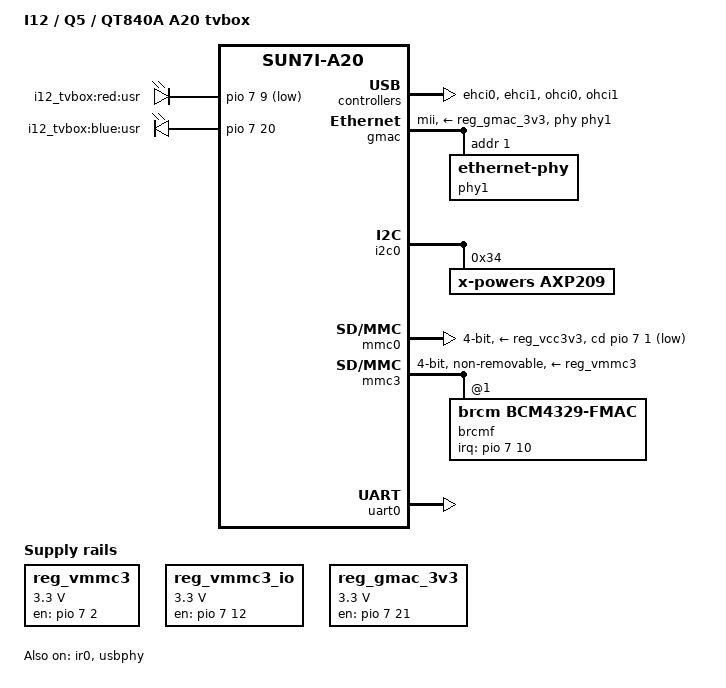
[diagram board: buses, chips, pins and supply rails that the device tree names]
/*
 * Copyright 2014 Hans de Goede <hdegoede@redhat.com>
 *
 * This file is dual-licensed: you can use it either under the terms
 * of the GPL or the X11 license, at your option. Note that this dual
 * licensing only applies to this file, and not this project as a
 * whole.
 *
 *  a) This file is free software; you can redistribute it and/or
 *     modify it under the terms of the GNU General Public License as
 *     published by the Free Software Foundation; either version 2 of the
 *     License, or (at your option) any later version.
 *
 *     This file is distributed in the hope that it will be useful,
 *     but WITHOUT ANY WARRANTY; without even the implied warranty of
 *     MERCHANTABILITY or FITNESS FOR A PARTICULAR PURPOSE.  See the
 *     GNU General Public License for more details.
 *
 * Or, alternatively,
 *
 *  b) Permission is hereby granted, free of charge, to any person
 *     obtaining a copy of this software and associated documentation
 *     files (the "Software"), to deal in the Software without
 *     restriction, including without limitation the rights to use,
 *     copy, modify, merge, publish, distribute, sublicense, and/or
 *     sell copies of the Software, and to permit persons to whom the
 *     Software is furnished to do so, subject to the following
 *     conditions:
 *
 *     The above copyright notice and this permission notice shall be
 *     included in all copies or substantial portions of the Software.
 *
 *     THE SOFTWARE IS PROVIDED "AS IS", WITHOUT WARRANTY OF ANY KIND,
 *     EXPRESS OR IMPLIED, INCLUDING BUT NOT LIMITED TO THE WARRANTIES
 *     OF MERCHANTABILITY, FITNESS FOR A PARTICULAR PURPOSE AND
 *     NONINFRINGEMENT. IN NO EVENT SHALL THE AUTHORS OR COPYRIGHT
 *     HOLDERS BE LIABLE FOR ANY CLAIM, DAMAGES OR OTHER LIABILITY,
 *     WHETHER IN AN ACTION OF CONTRACT, TORT OR OTHERWISE, ARISING
 *     FROM, OUT OF OR IN CONNECTION WITH THE SOFTWARE OR THE USE OR
 *     OTHER DEALINGS IN THE SOFTWARE.
 */

/dts-v1/;
#include "sun7i-a20.dtsi"
#include "sunxi-common-regulators.dtsi"

#include <dt-bindings/gpio/gpio.h>
#include <dt-bindings/interrupt-controller/irq.h>

/ {
	model = "I12 / Q5 / QT840A A20 tvbox";
	compatible = "allwinner,i12-tvbox", "allwinner,sun7i-a20";

	aliases {
		serial0 = &uart0;
	};

	chosen {
		stdout-path = "serial0:115200n8";
	};

	leds {
		compatible = "gpio-leds";
		pinctrl-names = "default";
		pinctrl-0 = <&led_pins_i12_tvbox>;

		red {
			label = "i12_tvbox:red:usr";
			gpios = <&pio 7 9 GPIO_ACTIVE_LOW>;
		};

		blue {
			label = "i12_tvbox:blue:usr";
			gpios = <&pio 7 20 GPIO_ACTIVE_HIGH>;
		};
	};

	reg_vmmc3: vmmc3 {
		compatible = "regulator-fixed";
		pinctrl-names = "default";
		pinctrl-0 = <&vmmc3_pin_i12_tvbox>;
		regulator-name = "vmmc3";
		regulator-min-microvolt = <3300000>;
		regulator-max-microvolt = <3300000>;
		enable-active-high;
		gpio = <&pio 7 2 GPIO_ACTIVE_HIGH>;
	};

	reg_vmmc3_io: vmmc3-io {
		compatible = "regulator-fixed";
		pinctrl-names = "default";
		pinctrl-0 = <&vmmc3_io_pin_i12_tvbox>;
		regulator-name = "vmmc3-io";
		regulator-min-microvolt = <3300000>;
		regulator-max-microvolt = <3300000>;
		/* This controls VCC-PI, must be always on! */
		regulator-always-on;
		enable-active-high;
		gpio = <&pio 7 12 GPIO_ACTIVE_HIGH>;
	};

	reg_gmac_3v3: gmac-3v3 {
		compatible = "regulator-fixed";
		pinctrl-names = "default";
		pinctrl-0 = <&gmac_power_pin_i12_tvbox>;
		regulator-name = "gmac-3v3";
		regulator-min-microvolt = <3300000>;
		regulator-max-microvolt = <3300000>;
		startup-delay-us = <50000>;
		enable-active-high;
		gpio = <&pio 7 21 GPIO_ACTIVE_HIGH>;
	};
};

&ehci0 {
	status = "okay";
};

&ehci1 {
	status = "okay";
};

&gmac {
	pinctrl-names = "default";
	pinctrl-0 = <&gmac_pins_mii_a>;
	phy = <&phy1>;
	phy-mode = "mii";
	phy-supply = <&reg_gmac_3v3>;
	status = "okay";

	phy1: ethernet-phy@1 {
		reg = <1>;
	};
};

&i2c0 {
	pinctrl-names = "default";
	pinctrl-0 = <&i2c0_pins_a>;
	status = "okay";

	axp209: pmic@34 {
		compatible = "x-powers,axp209";
		reg = <0x34>;
		interrupt-parent = <&nmi_intc>;
		interrupts = <0 IRQ_TYPE_LEVEL_LOW>;

		interrupt-controller;
		#interrupt-cells = <1>;
	};
};

&ir0 {
	pinctrl-names = "default";
	pinctrl-0 = <&ir0_rx_pins_a>;
	status = "okay";
};

&mmc0 {
	pinctrl-names = "default";
	pinctrl-0 = <&mmc0_pins_a>;
	vmmc-supply = <&reg_vcc3v3>;
	bus-width = <4>;
	cd-gpios = <&pio 7 1 GPIO_ACTIVE_LOW>; /* PH1 */
	status = "okay";
};

&mmc3 {
	pinctrl-names = "default";
	pinctrl-0 = <&mmc3_pins_a>;
	vmmc-supply = <&reg_vmmc3>;
	bus-width = <4>;
	non-removable;
	status = "okay";

	brcmf: wifi@1 {
		reg = <1>;
		compatible = "brcm,bcm4329-fmac";
		interrupt-parent = <&pio>;
		interrupts = <7 10 IRQ_TYPE_LEVEL_LOW>; /* PH10 / EINT10 */
		interrupt-names = "host-wake";
	};
};

&mmc3_pins_a {
	/* AP6210 / AP6330 requires pull-up */
	bias-pull-up;
};

&ohci0 {
	status = "okay";
};

&ohci1 {
	status = "okay";
};

&pio {
	vmmc3_pin_i12_tvbox: vmmc3_pin@0 {
		pins = "PH2";
		function = "gpio_out";
	};

	vmmc3_io_pin_i12_tvbox: vmmc3_io_pin@0 {
		pins = "PH12";
		function = "gpio_out";
	};

	gmac_power_pin_i12_tvbox: gmac_power_pin@0 {
		pins = "PH21";
		function = "gpio_out";
	};

	led_pins_i12_tvbox: led_pins@0 {
		pins = "PH9", "PH20";
		function = "gpio_out";
	};
};

&reg_usb1_vbus {
	status = "okay";
};

&reg_usb2_vbus {
	status = "okay";
};

&uart0 {
	pinctrl-names = "default";
	pinctrl-0 = <&uart0_pins_a>;
	status = "okay";
};

&usbphy {
	usb1_vbus-supply = <&reg_usb1_vbus>;
	usb2_vbus-supply = <&reg_usb2_vbus>;
	status = "okay";
};
